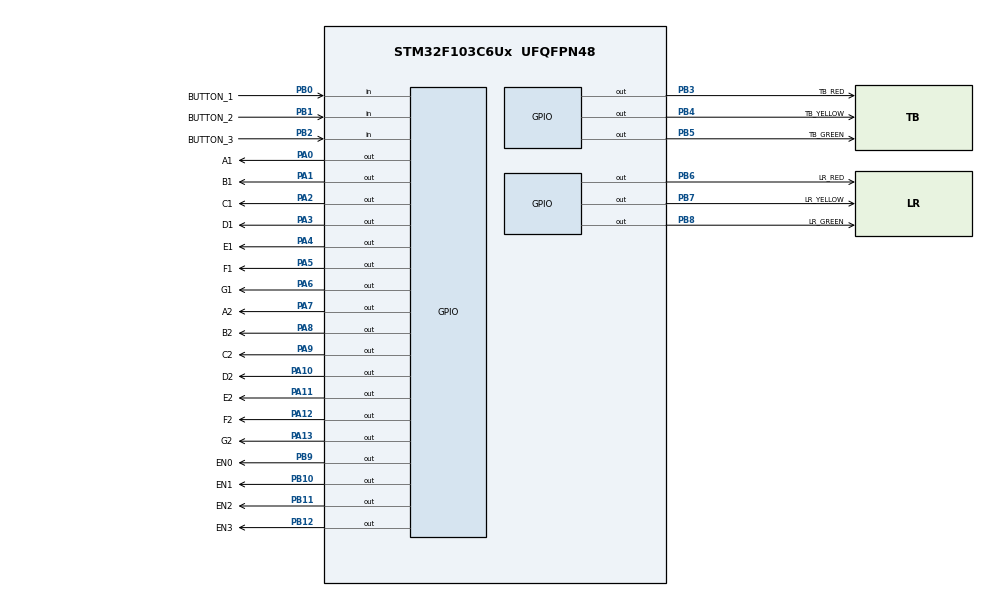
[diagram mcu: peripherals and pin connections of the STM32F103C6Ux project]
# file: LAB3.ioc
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Mcu.Family=STM32F1
Mcu.Name=STM32F103C6Ux
Mcu.Package=UFQFPN48
NVIC.PriorityGroup=NVIC_PRIORITYGROUP_4
NVIC.TIM2_IRQn=true\:0\:0\:false\:false\:true\:true\:true
PA0-WKUP.GPIO_Label=A1
PA0-WKUP.Signal=GPIO_Output
PA1.GPIO_Label=B1
PA1.Signal=GPIO_Output
PA10.GPIO_Label=D2
PA10.Signal=GPIO_Output
PA11.GPIO_Label=E2
PA11.Signal=GPIO_Output
PA12.GPIO_Label=F2
PA12.Signal=GPIO_Output
PA13.GPIO_Label=G2
PA13.Signal=GPIO_Output
PA2.GPIO_Label=C1
PA2.Signal=GPIO_Output
PA3.GPIO_Label=D1
PA3.Signal=GPIO_Output
PA4.GPIO_Label=E1
PA4.Signal=GPIO_Output
PA5.GPIO_Label=F1
PA5.Signal=GPIO_Output
PA6.GPIO_Label=G1
PA6.Signal=GPIO_Output
PA7.GPIO_Label=A2
PA7.Signal=GPIO_Output
PA8.GPIO_Label=B2
PA8.Signal=GPIO_Output
PA9.GPIO_Label=C2
PA9.Signal=GPIO_Output
PB0.GPIO_Label=BUTTON_1
PB0.GPIO_PuPd=GPIO_PULLUP
PB0.Signal=GPIO_Input
PB1.GPIO_Label=BUTTON_2
PB1.GPIO_PuPd=GPIO_PULLUP
PB1.Signal=GPIO_Input
PB10.GPIO_Label=EN1
PB10.Signal=GPIO_Output
PB11.GPIO_Label=EN2
PB11.Signal=GPIO_Output
PB12.GPIO_Label=EN3
PB12.Signal=GPIO_Output
PB2.GPIO_Label=BUTTON_3
PB2.GPIO_PuPd=GPIO_PULLUP
PB2.Signal=GPIO_Input
PB3.GPIO_Label=TB_RED
PB3.Signal=GPIO_Output
PB4.GPIO_Label=TB_YELLOW
PB4.Signal=GPIO_Output
PB5.GPIO_Label=TB_GREEN
PB5.Signal=GPIO_Output
PB6.GPIO_Label=LR_RED
PB6.Signal=GPIO_Output
PB7.GPIO_Label=LR_YELLOW
PB7.Signal=GPIO_Output
PB8.GPIO_Label=LR_GREEN
PB8.Signal=GPIO_Output
PB9.GPIO_Label=EN0
PB9.Signal=GPIO_Output
ProjectManager.HeapSize=0x200
ProjectManager.StackSize=0x400
ProjectManager.TargetToolchain=STM32CubeIDE
RCC.APB1Freq_Value=8000000
RCC.APB2Freq_Value=8000000
TIM2.Period=9
TIM2.Prescaler=7999
VP_SYS_VS_ND.Mode=No_Debug
VP_TIM2_VS_ClockSourceINT.Mode=Internal
board=custom

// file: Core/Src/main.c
/* USER CODE BEGIN Header */
/**
  ******************************************************************************
  * @file           : main.c
  * @brief          : Main program body
  ******************************************************************************
  * @attention
  *
  * <h2><center>&copy; Copyright (c) 2024 STMicroelectronics.
  * All rights reserved.</center></h2>
  *
  * This software component is licensed by ST under BSD 3-Clause license,
  * the "License"; You may not use this file except in compliance with the
  * License. You may obtain a copy of the License at:
  *                        opensource.org/licenses/BSD-3-Clause
  *
  ******************************************************************************
  */
/* USER CODE END Header */
#include "main.h"

/* USER CODE BEGIN Includes */
#include "fsm_automatic.h"
#include "fsm_manual.h"
#include "global.h"
#include "led_display.h"
#include "software_timer.h"
#include "led_display.h"
#include "button.h"
#include "scheduler.h"
/* USER CODE END Includes */

TIM_HandleTypeDef htim2;

void SystemClock_Config(void);
static void MX_GPIO_Init(void);
static void MX_TIM2_Init(void);

int main(void)
{

  /* MCU Configuration--------------------------------------------------------*/

  /* Reset of all peripherals, Initializes the Flash interface and the Systick. */
  HAL_Init();

  /* Configure the system clock */
  SystemClock_Config();

  /* Initialize all configured peripherals */
  MX_GPIO_Init();
  MX_TIM2_Init();
  /* USER CODE BEGIN 2 */
  HAL_TIM_Base_Start_IT (& htim2 ) ;
  /* USER CODE END 2 */

  /* Infinite loop */
  /* USER CODE BEGIN WHILE */
  setValues();
  displayTopToBottomLED(LED_INIT);
  displayLeftToRightLED(LED_INIT);

  SCH_Add_Task(updateCountDown, 100, 100);
  SCH_Add_Task(fsm_auto, 0, 1);
  SCH_Add_Task(fsm_manual, 0, 25);

  while (1){
	  SCH_Dispatch_Tasks();
//	  fsm_auto();
//	  fsm_manual();
//	  if( is_button_pressed(0)){
//		  HAL_GPIO_TogglePin(LR_RED_GPIO_Port, LR_RED_Pin);
//	  }
//	  if( is_button_pressed(1)){
//		  HAL_GPIO_TogglePin(LR_YELLOW_GPIO_Port, LR_YELLOW_Pin);
//	  }
//	  if( is_button_pressed(2)){
//	  	  HAL_GPIO_TogglePin(LR_GREEN_GPIO_Port, LR_GREEN_Pin);
//	  }
//	  HAL_GPIO_WritePin( LR_RED_GPIO_Port , LR_RED_Pin , GPIO_PIN_SET ) ;
    /* USER CODE END WHILE */

  }
}

void SystemClock_Config(void)
{
  RCC_OscInitTypeDef RCC_OscInitStruct = {0};
  RCC_ClkInitTypeDef RCC_ClkInitStruct = {0};

  /** Initializes the RCC Oscillators according to the specified parameters
  * in the RCC_OscInitTypeDef structure.
  */
  RCC_OscInitStruct.OscillatorType = RCC_OSCILLATORTYPE_HSI;
  RCC_OscInitStruct.HSIState = RCC_HSI_ON;
  RCC_OscInitStruct.HSICalibrationValue = RCC_HSICALIBRATION_DEFAULT;
  RCC_OscInitStruct.PLL.PLLState = RCC_PLL_NONE;
  if (HAL_RCC_OscConfig(&RCC_OscInitStruct) != HAL_OK)
  {
    Error_Handler();
  }
  /** Initializes the CPU, AHB and APB buses clocks
  */
  RCC_ClkInitStruct.ClockType = RCC_CLOCKTYPE_HCLK|RCC_CLOCKTYPE_SYSCLK
                              |RCC_CLOCKTYPE_PCLK1|RCC_CLOCKTYPE_PCLK2;
  RCC_ClkInitStruct.SYSCLKSource = RCC_SYSCLKSOURCE_HSI;
  RCC_ClkInitStruct.AHBCLKDivider = RCC_SYSCLK_DIV1;
  RCC_ClkInitStruct.APB1CLKDivider = RCC_HCLK_DIV1;
  RCC_ClkInitStruct.APB2CLKDivider = RCC_HCLK_DIV1;

  if (HAL_RCC_ClockConfig(&RCC_ClkInitStruct, FLASH_LATENCY_0) != HAL_OK)
  {
    Error_Handler();
  }
}

static void MX_TIM2_Init(void)
{

  TIM_ClockConfigTypeDef sClockSourceConfig = {0};
  TIM_MasterConfigTypeDef sMasterConfig = {0};

  htim2.Instance = TIM2;
  htim2.Init.Prescaler = 7999;
  htim2.Init.CounterMode = TIM_COUNTERMODE_UP;
  htim2.Init.Period = 9;
  htim2.Init.ClockDivision = TIM_CLOCKDIVISION_DIV1;
  htim2.Init.AutoReloadPreload = TIM_AUTORELOAD_PRELOAD_DISABLE;
  if (HAL_TIM_Base_Init(&htim2) != HAL_OK)
  {
    Error_Handler();
  }
  sClockSourceConfig.ClockSource = TIM_CLOCKSOURCE_INTERNAL;
  if (HAL_TIM_ConfigClockSource(&htim2, &sClockSourceConfig) != HAL_OK)
  {
    Error_Handler();
  }
  sMasterConfig.MasterOutputTrigger = TIM_TRGO_RESET;
  sMasterConfig.MasterSlaveMode = TIM_MASTERSLAVEMODE_DISABLE;
  if (HAL_TIMEx_MasterConfigSynchronization(&htim2, &sMasterConfig) != HAL_OK)
  {
    Error_Handler();
  }

}

static void MX_GPIO_Init(void)
{
  GPIO_InitTypeDef GPIO_InitStruct = {0};

  /* GPIO Ports Clock Enable */
  __HAL_RCC_GPIOA_CLK_ENABLE();
  __HAL_RCC_GPIOB_CLK_ENABLE();

  /*Configure GPIO pin Output Level */
  HAL_GPIO_WritePin(GPIOA, A1_Pin|B1_Pin|C1_Pin|D1_Pin
                          |E1_Pin|F1_Pin|G1_Pin|A2_Pin
                          |B2_Pin|C2_Pin|D2_Pin|E2_Pin
                          |F2_Pin|G2_Pin, GPIO_PIN_RESET);

  /*Configure GPIO pin Output Level */
  HAL_GPIO_WritePin(GPIOB, EN1_Pin|EN2_Pin|EN3_Pin|TB_RED_Pin
                          |TB_YELLOW_Pin|TB_GREEN_Pin|LR_RED_Pin|LR_YELLOW_Pin
                          |LR_GREEN_Pin|EN0_Pin, GPIO_PIN_RESET);

  /*Configure GPIO pins : A1_Pin B1_Pin C1_Pin D1_Pin
                           E1_Pin F1_Pin G1_Pin A2_Pin
                           B2_Pin C2_Pin D2_Pin E2_Pin
                           F2_Pin G2_Pin */
  GPIO_InitStruct.Pin = A1_Pin|B1_Pin|C1_Pin|D1_Pin
                          |E1_Pin|F1_Pin|G1_Pin|A2_Pin
                          |B2_Pin|C2_Pin|D2_Pin|E2_Pin
                          |F2_Pin|G2_Pin;
  GPIO_InitStruct.Mode = GPIO_MODE_OUTPUT_PP;
  GPIO_InitStruct.Pull = GPIO_NOPULL;
  GPIO_InitStruct.Speed = GPIO_SPEED_FREQ_LOW;
  HAL_GPIO_Init(GPIOA, &GPIO_InitStruct);

  /*Configure GPIO pins : BUTTON_1_Pin BUTTON_2_Pin BUTTON_3_Pin */
  GPIO_InitStruct.Pin = BUTTON_1_Pin|BUTTON_2_Pin|BUTTON_3_Pin;
  GPIO_InitStruct.Mode = GPIO_MODE_INPUT;
  GPIO_InitStruct.Pull = GPIO_PULLUP;
  HAL_GPIO_Init(GPIOB, &GPIO_InitStruct);

  /*Configure GPIO pins : EN1_Pin EN2_Pin EN3_Pin TB_RED_Pin
                           TB_YELLOW_Pin TB_GREEN_Pin LR_RED_Pin LR_YELLOW_Pin
                           LR_GREEN_Pin EN0_Pin */
  GPIO_InitStruct.Pin = EN1_Pin|EN2_Pin|EN3_Pin|TB_RED_Pin
                          |TB_YELLOW_Pin|TB_GREEN_Pin|LR_RED_Pin|LR_YELLOW_Pin
                          |LR_GREEN_Pin|EN0_Pin;
  GPIO_InitStruct.Mode = GPIO_MODE_OUTPUT_PP;
  GPIO_InitStruct.Pull = GPIO_NOPULL;
  GPIO_InitStruct.Speed = GPIO_SPEED_FREQ_LOW;
  HAL_GPIO_Init(GPIOB, &GPIO_InitStruct);

}

/* USER CODE BEGIN 4 */
void HAL_TIM_PeriodElapsedCallback(TIM_HandleTypeDef *htim)
{
	getKeyInput();
//	timerRun();
	SCH_Update();
}
/* USER CODE END 4 */

void Error_Handler(void)
{
  __disable_irq();
  while (1)
  {
  }
}

/************************ (C) COPYRIGHT STMicroelectronics *****END OF FILE****/
